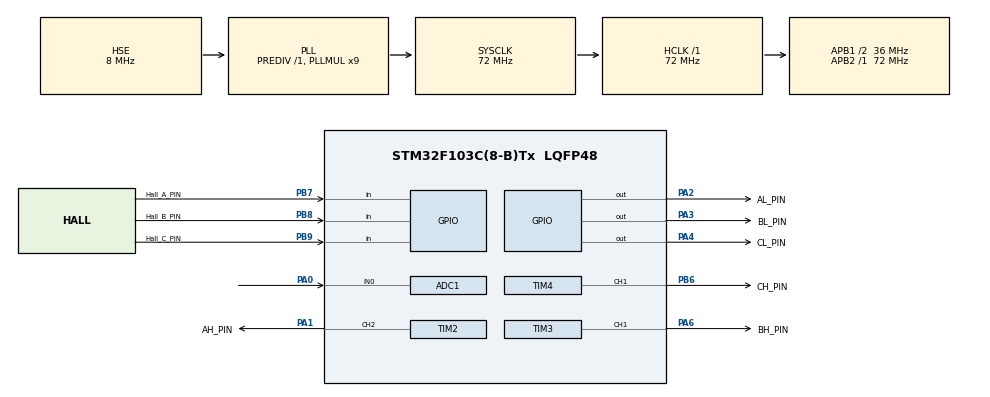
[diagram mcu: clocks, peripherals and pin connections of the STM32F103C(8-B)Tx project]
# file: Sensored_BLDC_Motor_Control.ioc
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ADC1.Channel-2\#ChannelRegularConversion=ADC_CHANNEL_0
ADC1.ContinuousConvMode=ENABLE
ADC1.NbrOfConversionFlag=1
ADC1.Rank-2\#ChannelRegularConversion=1
ADC1.SamplingTime-2\#ChannelRegularConversion=ADC_SAMPLETIME_1CYCLE_5
ADC1.master=1
Dma.ADC1.0.Direction=DMA_PERIPH_TO_MEMORY
Dma.ADC1.0.Instance=DMA1_Channel1
Dma.ADC1.0.MemDataAlignment=DMA_MDATAALIGN_HALFWORD
Dma.ADC1.0.MemInc=DMA_MINC_ENABLE
Dma.ADC1.0.Mode=DMA_CIRCULAR
Dma.ADC1.0.PeriphDataAlignment=DMA_PDATAALIGN_HALFWORD
Dma.ADC1.0.PeriphInc=DMA_PINC_DISABLE
Dma.ADC1.0.Priority=DMA_PRIORITY_LOW
Dma.Request0=ADC1
Mcu.Family=STM32F1
Mcu.Name=STM32F103C(8-B)Tx
Mcu.Package=LQFP48
NVIC.DMA1_Channel1_IRQn=true\:0\:0\:false\:false\:true\:false\:true\:true
NVIC.PriorityGroup=NVIC_PRIORITYGROUP_4
PA0-WKUP.Signal=ADCx_IN0
PA1.GPIO_Label=AH_PIN
PA1.Signal=S_TIM2_CH2
PA13.Mode=Serial_Wire
PA13.Signal=SYS_JTMS-SWDIO
PA14.Mode=Serial_Wire
PA14.Signal=SYS_JTCK-SWCLK
PA2.GPIO_Label=AL_PIN
PA2.Signal=GPIO_Output
PA3.GPIO_Label=BL_PIN
PA3.Signal=GPIO_Output
PA4.GPIO_Label=CL_PIN
PA4.Signal=GPIO_Output
PA6.GPIO_Label=BH_PIN
PA6.Signal=S_TIM3_CH1
PB6.GPIO_Label=CH_PIN
PB6.Signal=S_TIM4_CH1
PB7.GPIO_Label=Hall_A_PIN
PB7.Signal=GPIO_Input
PB8.GPIO_Label=Hall_B_PIN
PB8.Signal=GPIO_Input
PB9.GPIO_Label=Hall_C_PIN
PB9.Signal=GPIO_Input
PC14-OSC32_IN.Mode=LSE-External-Oscillator
PC14-OSC32_IN.Signal=RCC_OSC32_IN
PC15-OSC32_OUT.Mode=LSE-External-Oscillator
PC15-OSC32_OUT.Signal=RCC_OSC32_OUT
PD0-OSC_IN.Mode=HSE-External-Oscillator
PD0-OSC_IN.Signal=RCC_OSC_IN
PD1-OSC_OUT.Mode=HSE-External-Oscillator
PD1-OSC_OUT.Signal=RCC_OSC_OUT
ProjectManager.HeapSize=0x200
ProjectManager.StackSize=0x400
ProjectManager.TargetToolchain=STM32CubeIDE
RCC.ADCPresc=RCC_ADCPCLK2_DIV6
RCC.AHBFreq_Value=72000000
RCC.APB1CLKDivider=RCC_HCLK_DIV2
RCC.APB1Freq_Value=36000000
RCC.APB1TimFreq_Value=72000000
RCC.APB2Freq_Value=72000000
RCC.APB2TimFreq_Value=72000000
RCC.HCLKFreq_Value=72000000
RCC.PLLMUL=RCC_PLL_MUL9
RCC.PLLSourceVirtual=RCC_PLLSOURCE_HSE
RCC.SYSCLKFreq_VALUE=72000000
RCC.SYSCLKSource=RCC_SYSCLKSOURCE_PLLCLK
RCC.USBFreq_Value=72000000
SH.ADCx_IN0.0=ADC1_IN0,IN0
SH.S_TIM2_CH2.0=TIM2_CH2,PWM Generation2 CH2
SH.S_TIM3_CH1.0=TIM3_CH1,PWM Generation1 CH1
SH.S_TIM4_CH1.0=TIM4_CH1,PWM Generation1 CH1
TIM1.Period=65535
TIM1.Prescaler=72-1
TIM2.AutoReloadPreload=TIM_AUTORELOAD_PRELOAD_ENABLE
TIM2.Channel-PWM\ Generation2\ CH2=TIM_CHANNEL_2
TIM2.Period=100-1
TIM2.Prescaler=72-1
TIM2.Pulse-PWM\ Generation2\ CH2=0
TIM3.AutoReloadPreload=TIM_AUTORELOAD_PRELOAD_ENABLE
TIM3.Channel-PWM\ Generation1\ CH1=TIM_CHANNEL_1
TIM3.Period=100-1
TIM3.Prescaler=72-1
TIM3.Pulse-PWM\ Generation1\ CH1=0
TIM4.AutoReloadPreload=TIM_AUTORELOAD_PRELOAD_ENABLE
TIM4.Channel-PWM\ Generation1\ CH1=TIM_CHANNEL_1
TIM4.Period=100-1
TIM4.Prescaler=72-1
TIM4.Pulse-PWM\ Generation1\ CH1=0
VP_TIM1_VS_ClockSourceINT.Mode=Internal
VP_TIM2_VS_ClockSourceINT.Mode=Internal
VP_TIM3_VS_ClockSourceINT.Mode=Internal
VP_TIM4_VS_ClockSourceINT.Mode=Internal
board=custom

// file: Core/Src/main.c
/* USER CODE BEGIN Header */
/**
 ******************************************************************************
 * @file           : main.c
 * @brief          : Main program body
 ******************************************************************************
 * @attention
 *
 * Copyright (c) 2023 STMicroelectronics.
 * All rights reserved.
 *
 * This software is licensed under terms that can be found in the LICENSE file
 * in the root directory of this software component.
 * If no LICENSE file comes with this software, it is provided AS-IS.
 *
 ******************************************************************************
 */
/* USER CODE END Header */
#include "main.h"

/* USER CODE BEGIN PD */
#define HALL_OVERSAMPLE 3
/* USER CODE END PD */

ADC_HandleTypeDef hadc1;
DMA_HandleTypeDef hdma_adc1;

TIM_HandleTypeDef htim1;
TIM_HandleTypeDef htim2;
TIM_HandleTypeDef htim3;
TIM_HandleTypeDef htim4;

void SystemClock_Config(void);
static void MX_GPIO_Init(void);
static void MX_DMA_Init(void);
static void MX_TIM2_Init(void);
static void MX_TIM3_Init(void);
static void MX_TIM4_Init(void);
static void MX_ADC1_Init(void);
static void MX_TIM1_Init(void);
/* USER CODE BEGIN PFP */
uint16_t ADC_Buffer[4096]={0};
uint8_t Duty = 0 ;
uint8_t Halls = 0;
/* USER CODE END PFP */

/* USER CODE BEGIN 0 */
void delay_us(uint16_t us);
uint8_t getHalls(void);
/* USER CODE END 0 */

int main(void)
{

	/* MCU Configuration--------------------------------------------------------*/

	/* Reset of all peripherals, Initializes the Flash interface and the Systick. */
	HAL_Init();

	/* Configure the system clock */
	SystemClock_Config();

	/* Initialize all configured peripherals */
	MX_GPIO_Init();
	MX_DMA_Init();
	MX_TIM2_Init();
	MX_TIM3_Init();
	MX_TIM4_Init();
	MX_ADC1_Init();
	MX_TIM1_Init();
	/* USER CODE BEGIN 2 */
	HAL_TIM_Base_Start(&htim1);
	HAL_TIM_PWM_Start(&htim2,TIM_CHANNEL_2);
	HAL_TIM_PWM_Start(&htim3,TIM_CHANNEL_1);
	HAL_TIM_PWM_Start(&htim4,TIM_CHANNEL_1);
	HAL_ADC_Start_DMA(&hadc1, (uint32_t*)ADC_Buffer, 4096);
	__HAL_TIM_SET_COMPARE(&htim2,TIM_CHANNEL_2,0);
	__HAL_TIM_SET_COMPARE(&htim3,TIM_CHANNEL_1,0);
	__HAL_TIM_SET_COMPARE(&htim4,TIM_CHANNEL_1,0);
	/* USER CODE END 2 */

	/* Infinite loop */
	/* USER CODE BEGIN WHILE */
	while (1)
	{
		Halls = getHalls();
		switch(Halls)
		{
		case 1 :                                                                    // Hall_A = 1 Rest 0
			__HAL_TIM_SET_COMPARE(&htim3,TIM_CHANNEL_1,0);
			__HAL_TIM_SET_COMPARE(&htim4,TIM_CHANNEL_1,0);
			HAL_GPIO_WritePin(AL_PIN_GPIO_Port,AL_PIN_Pin,GPIO_PIN_RESET);
			HAL_GPIO_WritePin(BL_PIN_GPIO_Port,BL_PIN_Pin,GPIO_PIN_RESET);
			delay_us(50);
			__HAL_TIM_SET_COMPARE(&htim2,TIM_CHANNEL_2,Duty);                       // AH PWM
			HAL_GPIO_WritePin(CL_PIN_GPIO_Port,CL_PIN_Pin,GPIO_PIN_SET);            // CL HIGH
			break;

		case 2 :                                                                    //Hall_B = 1 Rest 0
			__HAL_TIM_SET_COMPARE(&htim2,TIM_CHANNEL_2,0);
			__HAL_TIM_SET_COMPARE(&htim4,TIM_CHANNEL_1,0);
			HAL_GPIO_WritePin(BL_PIN_GPIO_Port,BL_PIN_Pin,GPIO_PIN_RESET);
			HAL_GPIO_WritePin(CL_PIN_GPIO_Port,CL_PIN_Pin,GPIO_PIN_RESET);
			delay_us(50);
			__HAL_TIM_SET_COMPARE(&htim3,TIM_CHANNEL_1,Duty);						// BH PWM
			HAL_GPIO_WritePin(AL_PIN_GPIO_Port,AL_PIN_Pin,GPIO_PIN_SET);			// AL HIGH
			break;

		case 3 :																	// Hall_A = 1, Hall_B = 1 Rest 0
			__HAL_TIM_SET_COMPARE(&htim2,TIM_CHANNEL_2,0);
			__HAL_TIM_SET_COMPARE(&htim4,TIM_CHANNEL_1,0);
			HAL_GPIO_WritePin(AL_PIN_GPIO_Port,AL_PIN_Pin,GPIO_PIN_RESET);
			HAL_GPIO_WritePin(BL_PIN_GPIO_Port,BL_PIN_Pin,GPIO_PIN_RESET);
			delay_us(50);
			__HAL_TIM_SET_COMPARE(&htim3,TIM_CHANNEL_1,Duty);						// BH PWM
			HAL_GPIO_WritePin(CL_PIN_GPIO_Port,CL_PIN_Pin,GPIO_PIN_SET);            // CL HIGH
			break;

		case 4 :																	// Hall_C = 1 Rest 0
			__HAL_TIM_SET_COMPARE(&htim2,TIM_CHANNEL_2,0);
			__HAL_TIM_SET_COMPARE(&htim3,TIM_CHANNEL_1,0);
			HAL_GPIO_WritePin(AL_PIN_GPIO_Port,AL_PIN_Pin,GPIO_PIN_RESET);
			HAL_GPIO_WritePin(CL_PIN_GPIO_Port,CL_PIN_Pin,GPIO_PIN_RESET);
			delay_us(50);
			__HAL_TIM_SET_COMPARE(&htim4,TIM_CHANNEL_1,Duty);						// CH PWM
			HAL_GPIO_WritePin(BL_PIN_GPIO_Port,BL_PIN_Pin,GPIO_PIN_SET);			// BL HIGH
			break;

		case 5 :																	// Hall_A = 1 , Hall_C = 1 Rest 0
			__HAL_TIM_SET_COMPARE(&htim3,TIM_CHANNEL_1,0);
			__HAL_TIM_SET_COMPARE(&htim4,TIM_CHANNEL_1,0);
			HAL_GPIO_WritePin(AL_PIN_GPIO_Port,AL_PIN_Pin,GPIO_PIN_RESET);
			HAL_GPIO_WritePin(CL_PIN_GPIO_Port,CL_PIN_Pin,GPIO_PIN_RESET);
			delay_us(50);
			__HAL_TIM_SET_COMPARE(&htim2,TIM_CHANNEL_2,Duty);						// AH PWM
			HAL_GPIO_WritePin(BL_PIN_GPIO_Port,BL_PIN_Pin,GPIO_PIN_SET);			// BL HIGH
			break;

		case 6 :																	// Hall_B = 1 , Hall_C = 1 Rest 0
			__HAL_TIM_SET_COMPARE(&htim2,TIM_CHANNEL_2,0);
			__HAL_TIM_SET_COMPARE(&htim3,TIM_CHANNEL_1,0);
			HAL_GPIO_WritePin(BL_PIN_GPIO_Port,BL_PIN_Pin,GPIO_PIN_RESET);
			HAL_GPIO_WritePin(CL_PIN_GPIO_Port,CL_PIN_Pin,GPIO_PIN_RESET);
			delay_us(50);
			__HAL_TIM_SET_COMPARE(&htim4,TIM_CHANNEL_1,Duty);						// CH PWM
			HAL_GPIO_WritePin(AL_PIN_GPIO_Port,AL_PIN_Pin,GPIO_PIN_SET);			// AL HIGH
			break;

		default :
			HAL_GPIO_WritePin(AL_PIN_GPIO_Port,AL_PIN_Pin,GPIO_PIN_RESET);
			HAL_GPIO_WritePin(BL_PIN_GPIO_Port,BL_PIN_Pin,GPIO_PIN_RESET);
			HAL_GPIO_WritePin(CL_PIN_GPIO_Port,CL_PIN_Pin,GPIO_PIN_RESET);
			__HAL_TIM_SET_COMPARE(&htim2,TIM_CHANNEL_2,0);
			__HAL_TIM_SET_COMPARE(&htim3,TIM_CHANNEL_1,0);
			__HAL_TIM_SET_COMPARE(&htim4,TIM_CHANNEL_1,0);
		}

		/*u8_HallA = HAL_GPIO_ReadPin(Hall_A_PIN_GPIO_Port,Hall_A_PIN_Pin);
		u8_HallB = HAL_GPIO_ReadPin(Hall_B_PIN_GPIO_Port,Hall_B_PIN_Pin);
		u8_HallC = HAL_GPIO_ReadPin(Hall_C_PIN_GPIO_Port,Hall_C_PIN_Pin);

		if(u8_HallA == && u8_HallA == && u8_HallA== )
		{

		}
		else if(u8_HallA == && u8_HallA == && u8_HallA== )
		{

		}
		else if(u8_HallA == && u8_HallA == && u8_HallA== )
		{

		}
		else if(u8_HallA == && u8_HallA == && u8_HallA== )
		{

		}
		else if(u8_HallA == && u8_HallA == && u8_HallA== )
		{

		}
		else if(u8_HallA == && u8_HallA == && u8_HallA== )
		{

		}
		else
		{

		}*/
		//__HAL_TIM_SET_COMPARE(&htim2,TIM_CHANNEL_2,  50);
		//__HAL_TIM_SET_COMPARE(&htim3,TIM_CHANNEL_1,  50);
		//__HAL_TIM_SET_COMPARE(&htim4,TIM_CHANNEL_1,  50);
		//HAL_GPIO_WritePin(CL_PIN_GPIO_Port,CL_PIN_Pin,GPIO_PIN_SET);
		//HAL_GPIO_WritePin(AL_PIN_GPIO_Port,AL_PIN_Pin,GPIO_PIN_SET);
		//HAL_GPIO_WritePin(BL_PIN_GPIO_Port,BL_PIN_Pin,GPIO_PIN_SET);
		//delay_us(50000);
		//HAL_GPIO_WritePin(BL_PIN_GPIO_Port,BL_PIN_Pin,GPIO_PIN_RESET);
		//delay_us(50000);
		/*HAL_Delay(1000);
		HAL_GPIO_WritePin(CL_PIN_GPIO_Port,CL_PIN_Pin,GPIO_PIN_RESET);
		//delay_ns(50000);
		HAL_Delay(1000);*/
		/* USER CODE END WHILE */

	}
}

void SystemClock_Config(void)
{
	RCC_OscInitTypeDef RCC_OscInitStruct = {0};
	RCC_ClkInitTypeDef RCC_ClkInitStruct = {0};
	RCC_PeriphCLKInitTypeDef PeriphClkInit = {0};

	/** Initializes the RCC Oscillators according to the specified parameters
	 * in the RCC_OscInitTypeDef structure.
	 */
	RCC_OscInitStruct.OscillatorType = RCC_OSCILLATORTYPE_HSE;
	RCC_OscInitStruct.HSEState = RCC_HSE_ON;
	RCC_OscInitStruct.HSEPredivValue = RCC_HSE_PREDIV_DIV1;
	RCC_OscInitStruct.HSIState = RCC_HSI_ON;
	RCC_OscInitStruct.PLL.PLLState = RCC_PLL_ON;
	RCC_OscInitStruct.PLL.PLLSource = RCC_PLLSOURCE_HSE;
	RCC_OscInitStruct.PLL.PLLMUL = RCC_PLL_MUL9;
	if (HAL_RCC_OscConfig(&RCC_OscInitStruct) != HAL_OK)
	{
		Error_Handler();
	}

	/** Initializes the CPU, AHB and APB buses clocks
	 */
	RCC_ClkInitStruct.ClockType = RCC_CLOCKTYPE_HCLK|RCC_CLOCKTYPE_SYSCLK
			|RCC_CLOCKTYPE_PCLK1|RCC_CLOCKTYPE_PCLK2;
	RCC_ClkInitStruct.SYSCLKSource = RCC_SYSCLKSOURCE_PLLCLK;
	RCC_ClkInitStruct.AHBCLKDivider = RCC_SYSCLK_DIV1;
	RCC_ClkInitStruct.APB1CLKDivider = RCC_HCLK_DIV2;
	RCC_ClkInitStruct.APB2CLKDivider = RCC_HCLK_DIV1;

	if (HAL_RCC_ClockConfig(&RCC_ClkInitStruct, FLASH_LATENCY_2) != HAL_OK)
	{
		Error_Handler();
	}
	PeriphClkInit.PeriphClockSelection = RCC_PERIPHCLK_ADC;
	PeriphClkInit.AdcClockSelection = RCC_ADCPCLK2_DIV6;
	if (HAL_RCCEx_PeriphCLKConfig(&PeriphClkInit) != HAL_OK)
	{
		Error_Handler();
	}
}

static void MX_ADC1_Init(void)
{

	ADC_ChannelConfTypeDef sConfig = {0};

	/** Common config
	 */
	hadc1.Instance = ADC1;
	hadc1.Init.ScanConvMode = ADC_SCAN_DISABLE;
	hadc1.Init.ContinuousConvMode = ENABLE;
	hadc1.Init.DiscontinuousConvMode = DISABLE;
	hadc1.Init.ExternalTrigConv = ADC_SOFTWARE_START;
	hadc1.Init.DataAlign = ADC_DATAALIGN_RIGHT;
	hadc1.Init.NbrOfConversion = 1;
	if (HAL_ADC_Init(&hadc1) != HAL_OK)
	{
		Error_Handler();
	}

	/** Configure Regular Channel
	 */
	sConfig.Channel = ADC_CHANNEL_0;
	sConfig.Rank = ADC_REGULAR_RANK_1;
	sConfig.SamplingTime = ADC_SAMPLETIME_1CYCLE_5;
	if (HAL_ADC_ConfigChannel(&hadc1, &sConfig) != HAL_OK)
	{
		Error_Handler();
	}

}

static void MX_TIM1_Init(void)
{

	TIM_ClockConfigTypeDef sClockSourceConfig = {0};
	TIM_MasterConfigTypeDef sMasterConfig = {0};

	htim1.Instance = TIM1;
	htim1.Init.Prescaler = 72-1;
	htim1.Init.CounterMode = TIM_COUNTERMODE_UP;
	htim1.Init.Period = 65535;
	htim1.Init.ClockDivision = TIM_CLOCKDIVISION_DIV1;
	htim1.Init.RepetitionCounter = 0;
	htim1.Init.AutoReloadPreload = TIM_AUTORELOAD_PRELOAD_DISABLE;
	if (HAL_TIM_Base_Init(&htim1) != HAL_OK)
	{
		Error_Handler();
	}
	sClockSourceConfig.ClockSource = TIM_CLOCKSOURCE_INTERNAL;
	if (HAL_TIM_ConfigClockSource(&htim1, &sClockSourceConfig) != HAL_OK)
	{
		Error_Handler();
	}
	sMasterConfig.MasterOutputTrigger = TIM_TRGO_RESET;
	sMasterConfig.MasterSlaveMode = TIM_MASTERSLAVEMODE_DISABLE;
	if (HAL_TIMEx_MasterConfigSynchronization(&htim1, &sMasterConfig) != HAL_OK)
	{
		Error_Handler();
	}

}

static void MX_TIM2_Init(void)
{

	TIM_ClockConfigTypeDef sClockSourceConfig = {0};
	TIM_MasterConfigTypeDef sMasterConfig = {0};
	TIM_OC_InitTypeDef sConfigOC = {0};

	htim2.Instance = TIM2;
	htim2.Init.Prescaler = 72-1;
	htim2.Init.CounterMode = TIM_COUNTERMODE_UP;
	htim2.Init.Period = 100-1;
	htim2.Init.ClockDivision = TIM_CLOCKDIVISION_DIV1;
	htim2.Init.AutoReloadPreload = TIM_AUTORELOAD_PRELOAD_ENABLE;
	if (HAL_TIM_Base_Init(&htim2) != HAL_OK)
	{
		Error_Handler();
	}
	sClockSourceConfig.ClockSource = TIM_CLOCKSOURCE_INTERNAL;
	if (HAL_TIM_ConfigClockSource(&htim2, &sClockSourceConfig) != HAL_OK)
	{
		Error_Handler();
	}
	if (HAL_TIM_PWM_Init(&htim2) != HAL_OK)
	{
		Error_Handler();
	}
	sMasterConfig.MasterOutputTrigger = TIM_TRGO_RESET;
	sMasterConfig.MasterSlaveMode = TIM_MASTERSLAVEMODE_DISABLE;
	if (HAL_TIMEx_MasterConfigSynchronization(&htim2, &sMasterConfig) != HAL_OK)
	{
		Error_Handler();
	}
	sConfigOC.OCMode = TIM_OCMODE_PWM1;
	sConfigOC.Pulse = 0;
	sConfigOC.OCPolarity = TIM_OCPOLARITY_HIGH;
	sConfigOC.OCFastMode = TIM_OCFAST_DISABLE;
	if (HAL_TIM_PWM_ConfigChannel(&htim2, &sConfigOC, TIM_CHANNEL_2) != HAL_OK)
	{
		Error_Handler();
	}
	HAL_TIM_MspPostInit(&htim2);

}

static void MX_TIM3_Init(void)
{

	TIM_ClockConfigTypeDef sClockSourceConfig = {0};
	TIM_MasterConfigTypeDef sMasterConfig = {0};
	TIM_OC_InitTypeDef sConfigOC = {0};

	htim3.Instance = TIM3;
	htim3.Init.Prescaler = 72-1;
	htim3.Init.CounterMode = TIM_COUNTERMODE_UP;
	htim3.Init.Period = 100-1;
	htim3.Init.ClockDivision = TIM_CLOCKDIVISION_DIV1;
	htim3.Init.AutoReloadPreload = TIM_AUTORELOAD_PRELOAD_ENABLE;
	if (HAL_TIM_Base_Init(&htim3) != HAL_OK)
	{
		Error_Handler();
	}
	sClockSourceConfig.ClockSource = TIM_CLOCKSOURCE_INTERNAL;
	if (HAL_TIM_ConfigClockSource(&htim3, &sClockSourceConfig) != HAL_OK)
	{
		Error_Handler();
	}
	if (HAL_TIM_PWM_Init(&htim3) != HAL_OK)
	{
		Error_Handler();
	}
	sMasterConfig.MasterOutputTrigger = TIM_TRGO_RESET;
	sMasterConfig.MasterSlaveMode = TIM_MASTERSLAVEMODE_DISABLE;
	if (HAL_TIMEx_MasterConfigSynchronization(&htim3, &sMasterConfig) != HAL_OK)
	{
		Error_Handler();
	}
	sConfigOC.OCMode = TIM_OCMODE_PWM1;
	sConfigOC.Pulse = 0;
	sConfigOC.OCPolarity = TIM_OCPOLARITY_HIGH;
	sConfigOC.OCFastMode = TIM_OCFAST_DISABLE;
	if (HAL_TIM_PWM_ConfigChannel(&htim3, &sConfigOC, TIM_CHANNEL_1) != HAL_OK)
	{
		Error_Handler();
	}
	HAL_TIM_MspPostInit(&htim3);

}

static void MX_TIM4_Init(void)
{

	TIM_ClockConfigTypeDef sClockSourceConfig = {0};
	TIM_MasterConfigTypeDef sMasterConfig = {0};
	TIM_OC_InitTypeDef sConfigOC = {0};

	htim4.Instance = TIM4;
	htim4.Init.Prescaler = 72-1;
	htim4.Init.CounterMode = TIM_COUNTERMODE_UP;
	htim4.Init.Period = 100-1;
	htim4.Init.ClockDivision = TIM_CLOCKDIVISION_DIV1;
	htim4.Init.AutoReloadPreload = TIM_AUTORELOAD_PRELOAD_ENABLE;
	if (HAL_TIM_Base_Init(&htim4) != HAL_OK)
	{
		Error_Handler();
	}
	sClockSourceConfig.ClockSource = TIM_CLOCKSOURCE_INTERNAL;
	if (HAL_TIM_ConfigClockSource(&htim4, &sClockSourceConfig) != HAL_OK)
	{
		Error_Handler();
	}
	if (HAL_TIM_PWM_Init(&htim4) != HAL_OK)
	{
		Error_Handler();
	}
	sMasterConfig.MasterOutputTrigger = TIM_TRGO_RESET;
	sMasterConfig.MasterSlaveMode = TIM_MASTERSLAVEMODE_DISABLE;
	if (HAL_TIMEx_MasterConfigSynchronization(&htim4, &sMasterConfig) != HAL_OK)
	{
		Error_Handler();
	}
	sConfigOC.OCMode = TIM_OCMODE_PWM1;
	sConfigOC.Pulse = 0;
	sConfigOC.OCPolarity = TIM_OCPOLARITY_HIGH;
	sConfigOC.OCFastMode = TIM_OCFAST_DISABLE;
	if (HAL_TIM_PWM_ConfigChannel(&htim4, &sConfigOC, TIM_CHANNEL_1) != HAL_OK)
	{
		Error_Handler();
	}
	HAL_TIM_MspPostInit(&htim4);

}

static void MX_DMA_Init(void)
{

	/* DMA controller clock enable */
	__HAL_RCC_DMA1_CLK_ENABLE();

	/* DMA interrupt init */
	/* DMA1_Channel1_IRQn interrupt configuration */
	HAL_NVIC_SetPriority(DMA1_Channel1_IRQn, 0, 0);
	HAL_NVIC_EnableIRQ(DMA1_Channel1_IRQn);

}

static void MX_GPIO_Init(void)
{
	GPIO_InitTypeDef GPIO_InitStruct = {0};

	/* GPIO Ports Clock Enable */
	__HAL_RCC_GPIOC_CLK_ENABLE();
	__HAL_RCC_GPIOD_CLK_ENABLE();
	__HAL_RCC_GPIOA_CLK_ENABLE();
	__HAL_RCC_GPIOB_CLK_ENABLE();

	/*Configure GPIO pin Output Level */
	HAL_GPIO_WritePin(GPIOA, AL_PIN_Pin|BL_PIN_Pin|CL_PIN_Pin, GPIO_PIN_RESET);

	/*Configure GPIO pins : AL_PIN_Pin BL_PIN_Pin CL_PIN_Pin */
	GPIO_InitStruct.Pin = AL_PIN_Pin|BL_PIN_Pin|CL_PIN_Pin;
	GPIO_InitStruct.Mode = GPIO_MODE_OUTPUT_PP;
	GPIO_InitStruct.Pull = GPIO_NOPULL;
	GPIO_InitStruct.Speed = GPIO_SPEED_FREQ_LOW;
	HAL_GPIO_Init(GPIOA, &GPIO_InitStruct);

	/*Configure GPIO pins : Hall_A_PIN_Pin Hall_B_PIN_Pin Hall_C_PIN_Pin */
	GPIO_InitStruct.Pin = Hall_A_PIN_Pin|Hall_B_PIN_Pin|Hall_C_PIN_Pin;
	GPIO_InitStruct.Mode = GPIO_MODE_INPUT;
	GPIO_InitStruct.Pull = GPIO_NOPULL;
	HAL_GPIO_Init(GPIOB, &GPIO_InitStruct);

}

/* USER CODE BEGIN 4 */
void HAL_ADC_ConvCpltCallback(ADC_HandleTypeDef* hadc)
{
	Duty = ( (ADC_Buffer[0] * 100) /4096);
}
void delay_us(uint16_t us) {

	__HAL_TIM_SET_COUNTER(&htim1, 0);
	while (__HAL_TIM_GET_COUNTER(&htim1) < us);
	/*	// Configure timer TIM1
	TIM_HandleTypeDef htim1;
	htim1.Instance = TIM1;
	htim1.Init.Prescaler = 72-1; // Timer runs at 1 MHz
	htim1.Init.CounterMode = TIM_COUNTERMODE_UP;
	htim1.Init.Period = us-1;
	HAL_TIM_Base_Init(&htim1);

	// Start the timer
	HAL_TIM_Base_Start(&htim1);

	// Wait for timer to complete
	while (__HAL_TIM_GET_FLAG(&htim1, TIM_FLAG_UPDATE) == RESET) {}

	// Clear the update flag
	__HAL_TIM_CLEAR_FLAG(&htim1, TIM_FLAG_UPDATE);

	// Stop the timer
	HAL_TIM_Base_Stop(&htim1);*/
}
/* Read hall sensors WITH oversamping. This is required, as the hall sensor readings are often noisy.
 * This function reads the sensors multiple times (defined by HALL_OVERSAMPLE) and only sets the output
 * to a 1 if a majority of the readings are 1. This really helps reject noise. If the motor starts "cogging" or "skipping"
 * at low speed and high torque, try increasing the HALL_OVERSAMPLE value
 *
 * Outputs a number, with the last 3 binary digits corresponding to hall readings. Thus 0 to 7, or 1 to 6 in normal operation*/

uint8_t getHalls(void)
{
	uint8_t hallCounts[] = {0, 0, 0};
	for(uint8_t i = 0; i < HALL_OVERSAMPLE; i++) // Read all the hall pins repeatedly, tally results
	{
		hallCounts[0] += HAL_GPIO_ReadPin(Hall_A_PIN_GPIO_Port,Hall_A_PIN_Pin);
		hallCounts[1] += HAL_GPIO_ReadPin(Hall_B_PIN_GPIO_Port,Hall_B_PIN_Pin);
		hallCounts[2] += HAL_GPIO_ReadPin(Hall_C_PIN_GPIO_Port,Hall_C_PIN_Pin);
	}

	uint8_t hall = 0;

	if (hallCounts[0] >= HALL_OVERSAMPLE / 2)     // If votes >= threshold, call that a 1
		hall |= (1<<0);                             // Store a 1 in the 0th bit
	if (hallCounts[1] >= HALL_OVERSAMPLE / 2)
		hall |= (1<<1);                             // Store a 1 in the 1st bit
	if (hallCounts[2] >= HALL_OVERSAMPLE / 2)
		hall |= (1<<2);                             // Store a 1 in the 2nd bit

	return hall & 0x7;                            // Just to make sure we didn't do anything stupid, set the maximum output value to 7
}
/* USER CODE END 4 */

void Error_Handler(void)
{
	__disable_irq();
	while (1)
	{
	}
}
